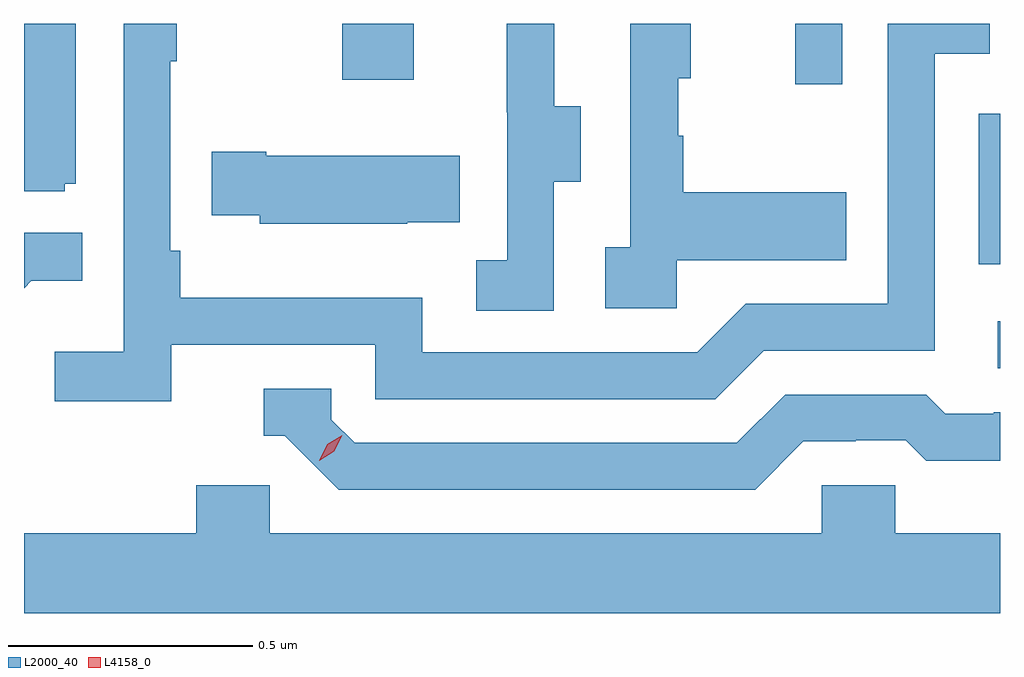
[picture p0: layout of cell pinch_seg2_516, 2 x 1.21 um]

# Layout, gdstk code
import gdstk
lib = gdstk.Library(unit=1e-6, precision=1e-09)
def R(c, l, rs):  # rectangles x0, y0, x1, y1
    for r in rs: c.add(gdstk.rectangle(r[:2], r[2:], *l))
def P(c, l, *ps):  # polygons
    for p in ps: c.add(gdstk.Polygon(p, *l))
L2000_40 = (2000, 40)
L4158_0 = (4158, 0)

pinch_seg2_516 = lib.new_cell('pinch_seg2_516')
R(pinch_seg2_516, L2000_40, [(967.257,600.186,967.262,600.282), (967.218,600.399,967.262,600.708), (966.842,600.768,966.939,600.892), (965.914,600.777,966.061,600.892)])
P(pinch_seg2_516, L2000_40, [(966.348,600.568),(966.403,600.568),(966.403,600.723),(966.349,600.723),(966.349,600.892),(966.251,600.892),(966.251,600.711),(966.252,600.711),(966.252,600.407),(966.189,600.407),(966.189,600.304),(966.348,600.304)],
  [(966.6,600.407),(966.947,600.407),(966.947,600.547),(966.613,600.547),(966.613,600.662),(966.603,600.662),(966.603,600.78),(966.628,600.78),(966.628,600.892),(966.504,600.892),(966.504,600.434),(966.453,600.434),(966.453,600.309),(966.6,600.309)],
  [(965.564,600.234),(965.982,600.234),(965.982,600.123),(966.679,600.123),(966.778,600.222),(967.128,600.222),(967.128,600.831),(967.241,600.831),(967.241,600.892),(967.032,600.892),(967.032,600.318),(966.741,600.318),(966.642,600.219),(966.078,600.219),(966.078,600.331),(965.582,600.331),(965.582,600.427),(965.562,600.427),(965.562,600.815),(965.575,600.815),(965.575,600.892),(965.466,600.892),(965.466,600.22),(965.325,600.22),(965.325,600.118),(965.564,600.118)],
  [(965.346,600.564),(965.368,600.564),(965.368,600.892),(965.262,600.892),(965.262,600.549),(965.346,600.549)],
  [(966.047,600.485),(966.155,600.485),(966.155,600.622),(965.758,600.622),(965.758,600.63),(965.647,600.63),(965.647,600.5),(965.745,600.5),(965.745,600.482),(966.047,600.482)],
  [(965.277,600.365),(965.381,600.365),(965.381,600.464),(965.262,600.464),(965.262,600.35)],
  [(966.859,600.036),(966.966,600.036),(966.966,600.039),(967.069,600.039),(967.111,599.997),(967.262,599.997),(967.262,600.096),(967.249,600.096),(967.249,600.093),(967.15,600.093),(967.111,600.132),(966.822,600.132),(966.723,600.033),(965.94,600.033),(965.892,600.081),(965.892,600.144),(965.753,600.144),(965.753,600.048),(965.796,600.048),(965.907,599.937),(966.76,599.937)],
  [(967.262,599.848),(967.047,599.848),(967.047,599.946),(966.897,599.946),(966.897,599.848),(965.766,599.848),(965.766,599.946),(965.615,599.946),(965.615,599.848),(965.262,599.848),(965.262,599.684),(967.262,599.684)])
P(pinch_seg2_516, L4158_0, [(965.867,599.997),(965.867,599.997),(965.883,600.03),(965.914,600.049),(965.914,600.049),(965.914,600.049),(965.898,600.016),(965.867,599.997)])

lib.write_gds('pinch_seg2_516.gds')
